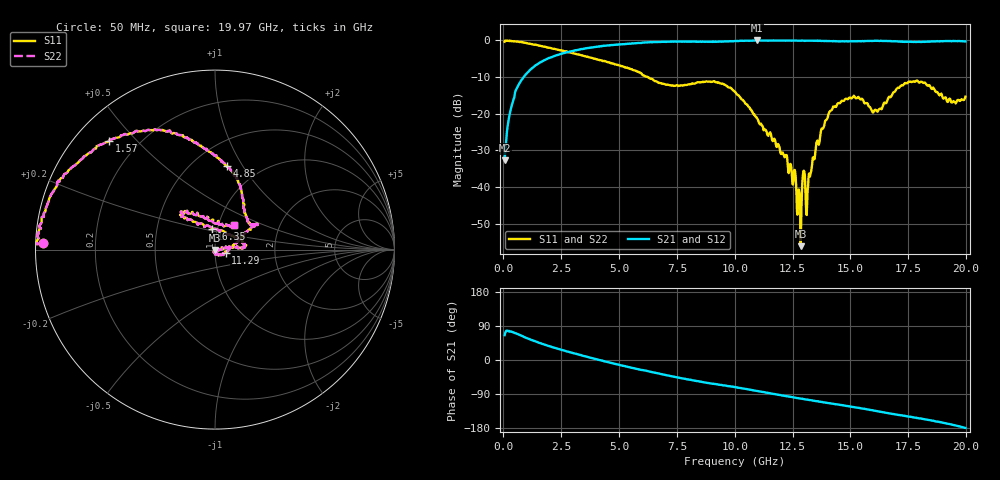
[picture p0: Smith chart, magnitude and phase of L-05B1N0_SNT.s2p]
! Data Taken on a HP 8720C VNA using a shunt-through fixture with TRL* de-embedding
#	mhz	s	ma	r	50
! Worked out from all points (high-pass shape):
!   997 points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, 50 MHz to 19.97 GHz, reference 50 ohm
!   highest |S21| = -0.03 dB at 10.97 GHz (marker M1); lowest = -32.7 dB at 50 MHz (marker M2)
!   |S21| within 3 dB of the highest: 2.898 GHz to end of sweep
!   lowest |S11| = -56.1 dB at 12.85 GHz (marker M3), VSWR 1.00, Z = 50 - j0.155 ohm
!   |S11| at or under -10 dB: 6.241 GHz to end of sweep
!   |S22| runs from -56.1 to 0.0 dB; largest |S21 - S12| = 0
!   S11 on the Smith chart (normalised r, x): 50 MHz: 0.02, +0.02; 1.57 GHz: 0.10, +0.42; 4.85 GHz: 0.72, +0.86; 11.29 GHz: 1.12, -0.04; 16.35 GHz: 0.94, +0.22; 19.97 GHz: 1.18, +0.33
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50  0.9572 177.8  0.02313 65.5  0.02313 65.5  0.9572 177.8
250  0.9767 173.1  0.09175 76.6  0.09175 76.6  0.9767 173.1
570  0.9637 161.9  0.22 69.5  0.22 69.5  0.9637 161.9
1570  0.8465 134.2  0.497 45.0  0.497 45.0  0.8465 134.2
3370  0.6269 102.6  0.762 12.5  0.762 12.5  0.6269 102.6
4850  0.4696 81.6  0.8727 -10.8  0.8727 -10.8  0.4696 81.6
6690  0.2657 52.3  0.9522 -35.3  0.9522 -35.3  0.2657 52.3
10010  0.1989 29.6  0.9788 -71.5  0.9788 -71.5  0.1989 29.6
10970  0.08547 5.9  0.9964 -81.7  0.9964 -81.7  0.08547 5.9
11290  0.06115 -16.1  0.9939 -85.3  0.9939 -85.3  0.06115 -16.1
12190  0.02682 -87.3  0.9919 -94.9  0.9919 -94.9  0.02682 -87.3
12770  0.00931 -108.3  0.9894 -101.1  0.9894 -101.1  0.00931 -108.3
12850  0.00157 -98.4  0.9907 -101.6  0.9907 -101.6  0.00157 -98.4
12970  0.01663 -71.7  0.9889 -103.2  0.9889 -103.2  0.01663 -71.7
13130  0.00643 -80.9  0.9885 -104.5  0.9885 -104.5  0.00643 -80.9
13330  0.01924 -12.9  0.9903 -106.5  0.9903 -106.5  0.01924 -12.9
14270  0.1246 7.6  0.9773 -115.7  0.9773 -115.7  0.1246 7.6
15150  0.1759 8.3  0.9717 -124.3  0.9717 -124.3  0.1759 8.3
16350  0.1155 99.3  0.9844 -137.2  0.9844 -137.2  0.1155 99.3
16650  0.1675 120.4  0.9776 -140.5  0.9776 -140.5  0.1675 120.4
17830  0.2793 131.0  0.9506 -152.1  0.9506 -152.1  0.2793 131.0
19970  0.1711 52.7  0.9673 -179.1  0.9673 -179.1  0.1711 52.7
